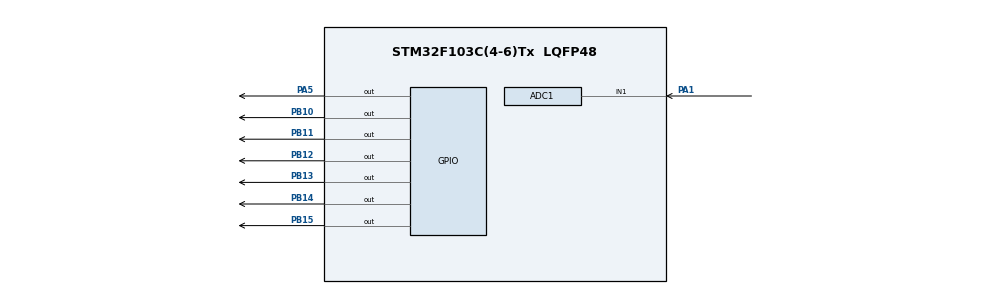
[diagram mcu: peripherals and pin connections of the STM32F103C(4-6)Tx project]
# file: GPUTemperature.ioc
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ADC1.Channel-0\#ChannelRegularConversion=ADC_CHANNEL_1
ADC1.NbrOfConversionFlag=1
ADC1.Rank-0\#ChannelRegularConversion=1
ADC1.SamplingTime-0\#ChannelRegularConversion=ADC_SAMPLETIME_1CYCLE_5
ADC1.master=1
Mcu.Family=STM32F1
Mcu.Name=STM32F103C(4-6)Tx
Mcu.Package=LQFP48
NVIC.PriorityGroup=NVIC_PRIORITYGROUP_4
NVIC.TIM2_IRQn=true\:0\:0\:false\:false\:true\:true\:true\:true
PA1.Signal=ADCx_IN1
PA5.Signal=GPIO_Output
PB10.Signal=GPIO_Output
PB11.Signal=GPIO_Output
PB12.Signal=GPIO_Output
PB13.Signal=GPIO_Output
PB14.Signal=GPIO_Output
PB15.Signal=GPIO_Output
PD0-OSC_IN.Mode=HSE-External-Oscillator
PD0-OSC_IN.Signal=RCC_OSC_IN
PD1-OSC_OUT.Mode=HSE-External-Oscillator
PD1-OSC_OUT.Signal=RCC_OSC_OUT
ProjectManager.HeapSize=0x200
ProjectManager.StackSize=0x400
ProjectManager.TargetToolchain=MDK-ARM V5.32
RCC.APB1Freq_Value=8000000
RCC.APB2Freq_Value=8000000
SH.ADCx_IN1.0=ADC1_IN1,IN1
TIM2.Prescaler=800
VP_SYS_VS_ND.Mode=No_Debug
VP_TIM2_VS_ClockSourceINT.Mode=Internal
board=custom

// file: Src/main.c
/* USER CODE BEGIN Header */
/**
  ******************************************************************************
  * @file           : main.c
  * @brief          : Main program body
  ******************************************************************************
  * @attention
  *
  * Copyright (c) 2024 STMicroelectronics.
  * All rights reserved.
  *
  * This software is licensed under terms that can be found in the LICENSE file
  * in the root directory of this software component.
  * If no LICENSE file comes with this software, it is provided AS-IS.
  *
  ******************************************************************************
  */
/* USER CODE END Header */
#include "main.h"
#include "main.h"
#include "lcd_txt.h"
#include "stdio.h"

ADC_HandleTypeDef hadc1;

TIM_HandleTypeDef htim2;

void SystemClock_Config(void);
static void MX_GPIO_Init(void);
static void MX_ADC1_Init(void);
static void MX_TIM2_Init(void);
/* USER CODE BEGIN PFP */
void Init(void);
/* USER CODE END PFP */

/* USER CODE BEGIN 0 */
float GPUTemp = 50.0;
int RefTemp = 70;
uint8_t msg[16] = {0};
/* USER CODE END 0 */

int main(void)
{

  /* MCU Configuration--------------------------------------------------------*/

  /* Reset of all peripherals, Initializes the Flash interface and the Systick. */
  HAL_Init();

  /* Configure the system clock */
  SystemClock_Config();

  /* Initialize all configured peripherals */
  MX_GPIO_Init();
  MX_ADC1_Init();
  MX_TIM2_Init();
  /* USER CODE BEGIN 2 */
	HAL_TIM_Base_Start_IT(&htim2);

	Init();
  /* USER CODE END 2 */

  /* Infinite loop */
  while (1)
  {

    /* USER CODE BEGIN 3 */
		sprintf(msg, "%d.0C ", (int)GPUTemp);
		lcd_puts(0, 11, (int8_t*)msg);
  }
  /* USER CODE END 3 */
}

void SystemClock_Config(void)
{
  RCC_OscInitTypeDef RCC_OscInitStruct = {0};
  RCC_ClkInitTypeDef RCC_ClkInitStruct = {0};
  RCC_PeriphCLKInitTypeDef PeriphClkInit = {0};

  /** Initializes the RCC Oscillators according to the specified parameters
  * in the RCC_OscInitTypeDef structure.
  */
  RCC_OscInitStruct.OscillatorType = RCC_OSCILLATORTYPE_HSI;
  RCC_OscInitStruct.HSIState = RCC_HSI_ON;
  RCC_OscInitStruct.HSICalibrationValue = RCC_HSICALIBRATION_DEFAULT;
  RCC_OscInitStruct.PLL.PLLState = RCC_PLL_NONE;
  if (HAL_RCC_OscConfig(&RCC_OscInitStruct) != HAL_OK)
  {
    Error_Handler();
  }

  /** Initializes the CPU, AHB and APB buses clocks
  */
  RCC_ClkInitStruct.ClockType = RCC_CLOCKTYPE_HCLK|RCC_CLOCKTYPE_SYSCLK
                              |RCC_CLOCKTYPE_PCLK1|RCC_CLOCKTYPE_PCLK2;
  RCC_ClkInitStruct.SYSCLKSource = RCC_SYSCLKSOURCE_HSI;
  RCC_ClkInitStruct.AHBCLKDivider = RCC_SYSCLK_DIV1;
  RCC_ClkInitStruct.APB1CLKDivider = RCC_HCLK_DIV1;
  RCC_ClkInitStruct.APB2CLKDivider = RCC_HCLK_DIV1;

  if (HAL_RCC_ClockConfig(&RCC_ClkInitStruct, FLASH_LATENCY_0) != HAL_OK)
  {
    Error_Handler();
  }
  PeriphClkInit.PeriphClockSelection = RCC_PERIPHCLK_ADC;
  PeriphClkInit.AdcClockSelection = RCC_ADCPCLK2_DIV2;
  if (HAL_RCCEx_PeriphCLKConfig(&PeriphClkInit) != HAL_OK)
  {
    Error_Handler();
  }
}

static void MX_ADC1_Init(void)
{

  ADC_ChannelConfTypeDef sConfig = {0};

  /** Common config
  */
  hadc1.Instance = ADC1;
  hadc1.Init.ScanConvMode = ADC_SCAN_DISABLE;
  hadc1.Init.ContinuousConvMode = ENABLE;
  hadc1.Init.DiscontinuousConvMode = DISABLE;
  hadc1.Init.ExternalTrigConv = ADC_SOFTWARE_START;
  hadc1.Init.DataAlign = ADC_DATAALIGN_RIGHT;
  hadc1.Init.NbrOfConversion = 1;
  if (HAL_ADC_Init(&hadc1) != HAL_OK)
  {
    Error_Handler();
  }

  /** Configure Regular Channel
  */
  sConfig.Channel = ADC_CHANNEL_1;
  sConfig.Rank = ADC_REGULAR_RANK_1;
  sConfig.SamplingTime = ADC_SAMPLETIME_1CYCLE_5;
  if (HAL_ADC_ConfigChannel(&hadc1, &sConfig) != HAL_OK)
  {
    Error_Handler();
  }

}

static void MX_TIM2_Init(void)
{

  TIM_ClockConfigTypeDef sClockSourceConfig = {0};
  TIM_MasterConfigTypeDef sMasterConfig = {0};

  htim2.Instance = TIM2;
  htim2.Init.Prescaler = 800;
  htim2.Init.CounterMode = TIM_COUNTERMODE_UP;
  htim2.Init.Period = 1000;
  htim2.Init.ClockDivision = TIM_CLOCKDIVISION_DIV1;
  htim2.Init.AutoReloadPreload = TIM_AUTORELOAD_PRELOAD_DISABLE;
  if (HAL_TIM_Base_Init(&htim2) != HAL_OK)
  {
    Error_Handler();
  }
  sClockSourceConfig.ClockSource = TIM_CLOCKSOURCE_INTERNAL;
  if (HAL_TIM_ConfigClockSource(&htim2, &sClockSourceConfig) != HAL_OK)
  {
    Error_Handler();
  }
  sMasterConfig.MasterOutputTrigger = TIM_TRGO_RESET;
  sMasterConfig.MasterSlaveMode = TIM_MASTERSLAVEMODE_DISABLE;
  if (HAL_TIMEx_MasterConfigSynchronization(&htim2, &sMasterConfig) != HAL_OK)
  {
    Error_Handler();
  }

}

static void MX_GPIO_Init(void)
{
  GPIO_InitTypeDef GPIO_InitStruct = {0};

  /* GPIO Ports Clock Enable */
  __HAL_RCC_GPIOD_CLK_ENABLE();
  __HAL_RCC_GPIOA_CLK_ENABLE();
  __HAL_RCC_GPIOB_CLK_ENABLE();

  /*Configure GPIO pin Output Level */
  HAL_GPIO_WritePin(GPIOA, GPIO_PIN_5, GPIO_PIN_RESET);

  /*Configure GPIO pin Output Level */
  HAL_GPIO_WritePin(GPIOB, GPIO_PIN_10|GPIO_PIN_11|GPIO_PIN_12|GPIO_PIN_13
                          |GPIO_PIN_14|GPIO_PIN_15, GPIO_PIN_RESET);

  /*Configure GPIO pin : PA5 */
  GPIO_InitStruct.Pin = GPIO_PIN_5;
  GPIO_InitStruct.Mode = GPIO_MODE_OUTPUT_PP;
  GPIO_InitStruct.Pull = GPIO_NOPULL;
  GPIO_InitStruct.Speed = GPIO_SPEED_FREQ_LOW;
  HAL_GPIO_Init(GPIOA, &GPIO_InitStruct);

  /*Configure GPIO pins : PB10 PB11 PB12 PB13
                           PB14 PB15 */
  GPIO_InitStruct.Pin = GPIO_PIN_10|GPIO_PIN_11|GPIO_PIN_12|GPIO_PIN_13
                          |GPIO_PIN_14|GPIO_PIN_15;
  GPIO_InitStruct.Mode = GPIO_MODE_OUTPUT_PP;
  GPIO_InitStruct.Pull = GPIO_NOPULL;
  GPIO_InitStruct.Speed = GPIO_SPEED_FREQ_LOW;
  HAL_GPIO_Init(GPIOB, &GPIO_InitStruct);

}

/* USER CODE BEGIN 4 */
void Init(void)
{
	HAL_TIM_Base_Start_IT(&htim2);

	lcd_init();
	lcd_puts(0, 0, (int8_t*)"Ucitavanje...");
	HAL_Delay(1000);
	lcd_clear();
	lcd_puts(0,0, (int8_t*)"GPU Temp: ");
}

void HAL_TIM_PeriodElapsedCallback(TIM_HandleTypeDef* htim)
{
	  HAL_ADC_Start(&hadc1);
		if(HAL_ADC_PollForConversion(&hadc1, 5) == HAL_OK)
				GPUTemp = (((HAL_ADC_GetValue(&hadc1) * 500.0)/4095.0) * 2.393)+0.5;
		 HAL_ADC_Stop(&hadc1);

		if((int)GPUTemp > RefTemp){
			HAL_GPIO_WritePin(GPIOA, GPIO_PIN_5, 1);
		}
		else{
			HAL_GPIO_WritePin(GPIOA, GPIO_PIN_5, 0);
		}
}
/* USER CODE END 4 */

void Error_Handler(void)
{
  __disable_irq();
  while (1)
  {
  }
}
